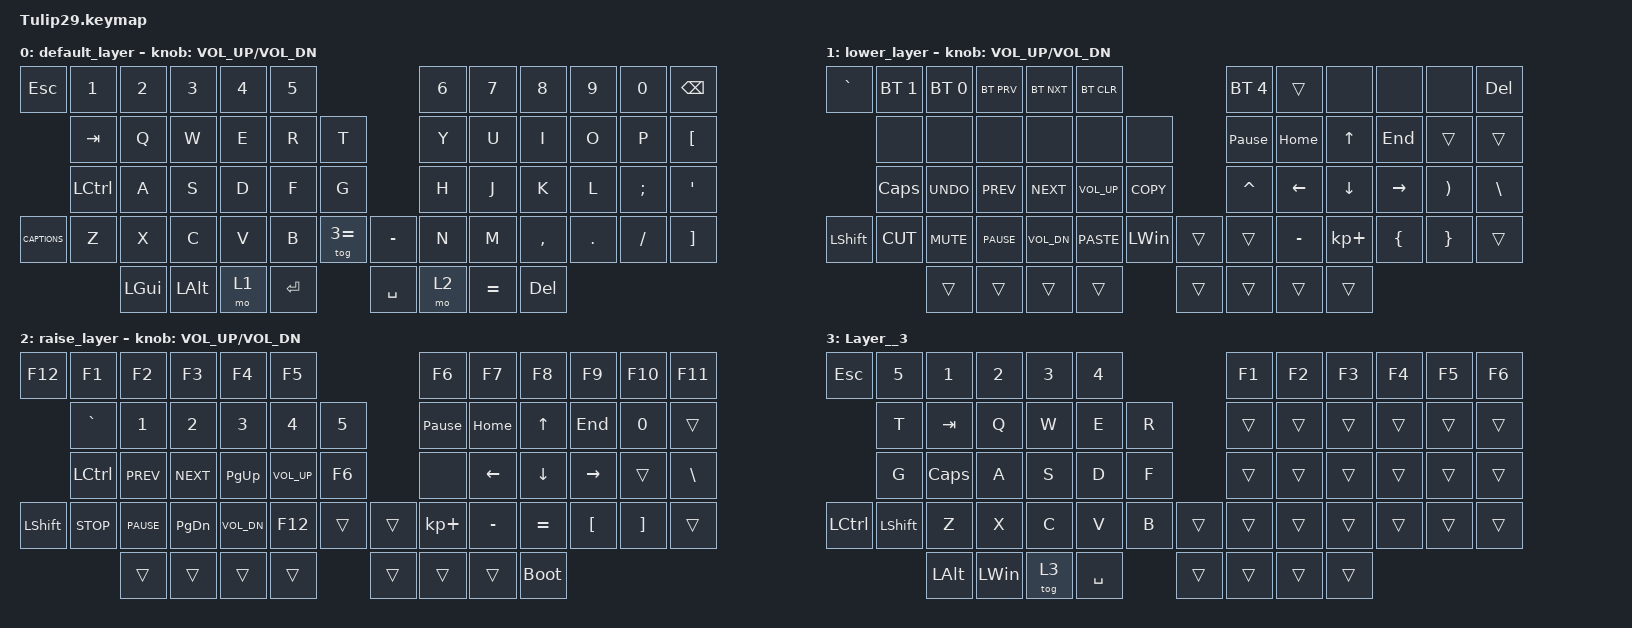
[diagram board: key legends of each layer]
/*
 * Copyright (c) 2020 The ZMK Contributors
 *
 * SPDX-License-Identifier: MIT
 */

#include <behaviors.dtsi>
#include <dt-bindings/zmk/keys.h>
#include <dt-bindings/zmk/bt.h>

/ {
    keymap {
        compatible = "zmk,keymap";

        default_layer {
            // ------------------------------------------------------------------------------------------------------------
            // |  ESC  |  1  |  2  |  3   |  4   |  5   |                   |  6   |  7    |  8    |  9   |   0   |  BSPC |
            // |  TAB  |  Q  |  W  |  E   |  R   |  T   |                   |  Y   |  U    |  I    |  O   |   P   |   [{   |
            // |  CTRL |  A  |  S  |  D   |  F   |  G   |                   |  H   |  J    |  K    |  L   |   ;   |   ':   |
            // | SHIFT |  Z  |  X  |  C   |  V   |  B   |   -_  |  |  +=  |  N   |  M    |  ,    |  .   |   /   | }] |
            //                     | GUI  | ALT  | LOWER|  SPACE |  | ENTER | RAISE| BSPC  | GUI   |

            bindings = <
   &kp ESC  &kp N1  &kp N2    &kp N3    &kp N4  &kp N5                      &kp N6     &kp N7      &kp N8   &kp N9    &kp N0  &kp BSPC
   &kp TAB   &kp Q   &kp W     &kp E     &kp R   &kp T                       &kp Y      &kp U       &kp I    &kp O     &kp P  &kp LBKT
 &kp LCTRL   &kp A   &kp S     &kp D     &kp F   &kp G                       &kp H      &kp J       &kp K    &kp L  &kp SEMI   &kp SQT
 &kp C_CAPTIONS &kp Z   &kp X     &kp C     &kp V   &kp B   &tog 3=  &kp MINUS   &kp N      &kp M   &kp COMMA  &kp DOT  &kp FSLH  &kp RBKT
                            &kp LGUI  &kp LALT   &mo 1  &kp RET  &kp SPACE   &mo 2  &kp EQUAL  &kp DELETE
            >;

            sensor-bindings = <&inc_dec_kp C_VOL_UP C_VOL_DN>;
        };

        lower_layer {
            // ------------------------------------------------------------------------------------------------------------
            // |   ~   | BTCLR | BT1 | BT2 |  BT3 |  BT4 |                  |  BT5 |      |       |       |      |   DEL    |     
            // |  F1   |  F2 |  F3 |  F4  |  F5  |  F6  |                   |  F7  |  F8   |  F9   |  F10 |  F11  |  F12  |
            // |   `   |  !  |  @  |  #   |  $   |  %   |                   |  ^   |  &    |  *    |  (   |   )   |   ~   |
            // |       |     |     |      |      |      |        |  |       |      |  _    |  +    |  {   |   }   |  "|"  |
            //                     |      |      |      |        |  |       |      |       |       |

            bindings = <
      &kp GRAVE  &bt BT_SEL 1  &bt BT_SEL 0   &bt BT_PRV    &bt BT_NXT   &bt BT_CLR                           &bt BT_SEL 4     &trans        &none      &none     &none   &kp DEL
          &none         &none         &none        &none         &none        &none                        &kp PAUSE_BREAK   &kp HOME       &kp UP    &kp END    &trans    &trans
       &kp CAPS    &kp K_UNDO    &kp K_PREV   &kp K_NEXT  &kp K_VOL_UP   &kp K_COPY                              &kp CARET   &kp LEFT     &kp DOWN  &kp RIGHT  &kp RPAR  &kp BSLH
 &kp LEFT_SHIFT     &kp K_CUT    &kp K_MUTE  &kp K_PAUSE  &kp K_VOL_DN  &kp K_PASTE  &kp LEFT_WIN  &trans           &trans  &kp MINUS  &kp KP_PLUS   &kp LBRC  &kp RBRC    &trans
                                                  &trans        &trans       &trans        &trans  &trans           &trans     &trans       &trans
            >;

            sensor-bindings = <&inc_dec_kp C_VOL_UP C_VOL_DN>;
        };

        raise_layer {
            // ------------------------------------------------------------------------------------------------------------
            // |   F12 |  F1 |  F2 |  F3  |  F4  |  F5  |                   |  F6  |  F7   |  F8   |  F9  |  F10  |  F11  |
            // |   `   |  1  |  2  |  3   |  4   |  5   |                   |  6   |  HOME |   UP  | END  |   0   |       |
            // |  CTRL | PREV| NEXT| PGUP | VOLUP|  F6  |                   |      | LEFT  | DOWN  |RIGHT |       |   \   |
            // |   F7  |  F8 |  F9 |  F10 |  F11 |  F12 |        |  |       |  +   |   -   |   =   |  [   |   ]   |       |
            //                     |      |      |      |        |  |       |      |       |BTLDER |

            bindings = <
   &kp F12      &kp F1       &kp F2         &kp F3        &kp F4   &kp F5                           &kp F6     &kp F7       &kp F8     &kp F9   &kp F10   &kp F11
 &kp GRAVE      &kp N1       &kp N2         &kp N3        &kp N4   &kp N5                  &kp PAUSE_BREAK   &kp HOME       &kp UP    &kp END    &kp N0    &trans
 &kp LCTRL  &kp C_PREV   &kp C_NEXT    &kp PAGE_UP  &kp C_VOL_UP   &kp F6                            &none   &kp LEFT     &kp DOWN  &kp RIGHT    &trans  &kp BSLH
 &kp LSHFT  &kp C_STOP  &kp C_PAUSE  &kp PAGE_DOWN  &kp C_VOL_DN  &kp F12  &trans  &trans      &kp KP_PLUS  &kp MINUS    &kp EQUAL   &kp LBKT  &kp RBKT    &trans
                                            &trans        &trans   &trans  &trans  &trans           &trans     &trans  &bootloader
            >;

            sensor-bindings = <&inc_dec_kp C_VOL_UP C_VOL_DN>;
        };

        Layer__3 {
            bindings = <
          &kp ESC    &kp NUMBER_5  &kp NUMBER_1  &kp NUMBER_2  &kp NUMBER_3  &kp NUMBER_4                     &kp F1  &kp F2  &kp F3  &kp F4  &kp F5  &kp F6
            &kp T         &kp TAB         &kp Q         &kp W         &kp E         &kp R                     &trans  &trans  &trans  &trans  &trans  &trans
            &kp G    &kp CAPSLOCK         &kp A         &kp S         &kp D         &kp F                     &trans  &trans  &trans  &trans  &trans  &trans
 &kp LEFT_CONTROL  &kp LEFT_SHIFT         &kp Z         &kp X         &kp C         &kp V      &kp B  &trans  &trans  &trans  &trans  &trans  &trans  &trans
                                                 &kp LEFT_ALT  &kp LEFT_WIN        &tog 3  &kp SPACE  &trans  &trans  &trans  &trans
            >;
        };
    };
};
